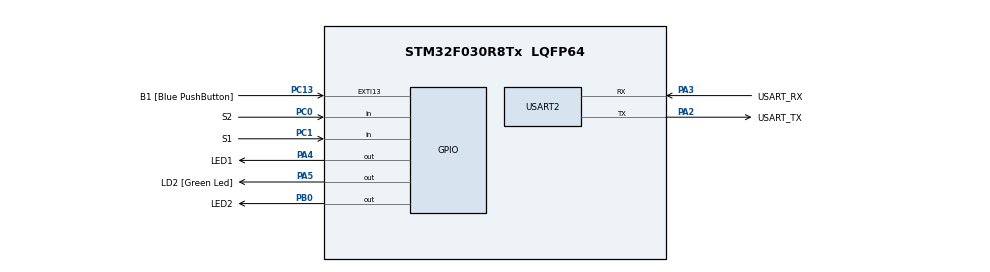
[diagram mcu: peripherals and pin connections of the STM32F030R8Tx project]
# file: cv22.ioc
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Mcu.Family=STM32F0
Mcu.Name=STM32F030R8Tx
Mcu.Package=LQFP64
PA13.GPIO_Label=TMS
PA13.Mode=Serial_Wire
PA13.Signal=SYS_SWDIO
PA14.GPIO_Label=TCK
PA14.Mode=Serial_Wire
PA14.Signal=SYS_SWCLK
PA2.GPIO_Label=USART_TX
PA2.GPIO_Mode=GPIO_MODE_AF_PP
PA2.GPIO_PuPd=GPIO_NOPULL
PA2.GPIO_Speed=GPIO_SPEED_FREQ_LOW
PA2.Mode=Asynchronous
PA2.Signal=USART2_TX
PA3.GPIO_Label=USART_RX
PA3.GPIO_Mode=GPIO_MODE_AF_PP
PA3.GPIO_PuPd=GPIO_NOPULL
PA3.GPIO_Speed=GPIO_SPEED_FREQ_LOW
PA3.Mode=Asynchronous
PA3.Signal=USART2_RX
PA4.GPIO_Label=LED1
PA4.Signal=GPIO_Output
PA5.GPIO_Label=LD2 [Green Led]
PA5.GPIO_Mode=GPIO_MODE_OUTPUT_PP
PA5.GPIO_PuPd=GPIO_NOPULL
PA5.GPIO_Speed=GPIO_SPEED_FREQ_LOW
PA5.Signal=GPIO_Output
PB0.GPIO_Label=LED2
PB0.Signal=GPIO_Output
PC0.GPIO_Label=S2
PC0.GPIO_PuPd=GPIO_PULLUP
PC0.Signal=GPIO_Input
PC1.GPIO_Label=S1
PC1.GPIO_PuPd=GPIO_PULLUP
PC1.Signal=GPIO_Input
PC13.GPIO_Label=B1 [Blue PushButton]
PC13.GPIO_ModeDefaultEXTI=GPIO_MODE_IT_FALLING
PC13.Signal=GPXTI13
PC14-OSC32_IN.Mode=LSE-External-Oscillator
PC14-OSC32_IN.Signal=RCC_OSC32_IN
PC15-OSC32_OUT.Mode=LSE-External-Oscillator
PC15-OSC32_OUT.Signal=RCC_OSC32_OUT
PF0-OSC_IN.Mode=HSE-External-Clock-Source
PF0-OSC_IN.Signal=RCC_OSC_IN
PF1-OSC_OUT.Signal=RCC_OSC_OUT
ProjectManager.HeapSize=0x200
ProjectManager.StackSize=0x400
ProjectManager.TargetToolchain=STM32CubeIDE
RCC.AHBFreq_Value=48000000
RCC.APB1Freq_Value=48000000
RCC.APB1TimFreq_Value=48000000
RCC.HCLKFreq_Value=48000000
RCC.PLLMUL=RCC_PLL_MUL12
RCC.SYSCLKFreq_VALUE=48000000
RCC.SYSCLKSource=RCC_SYSCLKSOURCE_PLLCLK
USART2.VirtualMode-Asynchronous=VM_ASYNC
board=NUCLEO-F030R8

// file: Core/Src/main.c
/* USER CODE BEGIN Header */
/**
  ******************************************************************************
  * @file           : main.c
  * @brief          : Main program body
  ******************************************************************************
  * @attention
  *
  * Copyright (c) 2023 STMicroelectronics.
  * All rights reserved.
  *
  * This software is licensed under terms that can be found in the LICENSE file
  * in the root directory of this software component.
  * If no LICENSE file comes with this software, it is provided AS-IS.
  *
  ******************************************************************************
  */
/* USER CODE END Header */
#include "main.h"

/* USER CODE BEGIN PD */
#define LED_TIME_BLINK 300
#define LED_TIME_SHORT 100
#define LED_TIME_LONG 1000
#define BUTTON_READ 40
#define BUTTON_READ_FAST 5
/* USER CODE END PD */

/* USER CODE BEGIN PV */

volatile uint32_t Tick;

/* USER CODE END PV */

void SystemClock_Config(void);
static void MX_GPIO_Init(void);
static void MX_USART2_UART_Init(void);
/* USER CODE BEGIN PFP */
void blikac(void);
void tlacitka(void);
/* USER CODE END PFP */

int main(void)
{

  /* MCU Configuration--------------------------------------------------------*/

  /* Reset of all peripherals, Initializes the Flash interface and the Systick. */
  LL_APB1_GRP2_EnableClock(LL_APB1_GRP2_PERIPH_SYSCFG);
  LL_APB1_GRP1_EnableClock(LL_APB1_GRP1_PERIPH_PWR);

  /* Configure the system clock */
  SystemClock_Config();

  /* Initialize all configured peripherals */
  MX_GPIO_Init();
  MX_USART2_UART_Init();
  /* USER CODE BEGIN 2 */
  LL_SYSTICK_EnableIT();
  /* USER CODE END 2 */

  /* Infinite loop */
  while (1)
  {
	  blikac();
	  tlacitka();
  }
}

void SystemClock_Config(void)
{
  LL_FLASH_SetLatency(LL_FLASH_LATENCY_1);
  while(LL_FLASH_GetLatency() != LL_FLASH_LATENCY_1)
  {
  }
  LL_RCC_HSI_Enable();

   /* Wait till HSI is ready */
  while(LL_RCC_HSI_IsReady() != 1)
  {

  }
  LL_RCC_HSI_SetCalibTrimming(16);
  LL_RCC_PLL_ConfigDomain_SYS(LL_RCC_PLLSOURCE_HSI_DIV_2, LL_RCC_PLL_MUL_12);
  LL_RCC_PLL_Enable();

   /* Wait till PLL is ready */
  while(LL_RCC_PLL_IsReady() != 1)
  {

  }
  LL_RCC_SetAHBPrescaler(LL_RCC_SYSCLK_DIV_1);
  LL_RCC_SetAPB1Prescaler(LL_RCC_APB1_DIV_1);
  LL_RCC_SetSysClkSource(LL_RCC_SYS_CLKSOURCE_PLL);

   /* Wait till System clock is ready */
  while(LL_RCC_GetSysClkSource() != LL_RCC_SYS_CLKSOURCE_STATUS_PLL)
  {

  }
  LL_Init1msTick(48000000);
  LL_SetSystemCoreClock(48000000);
}

static void MX_USART2_UART_Init(void)
{

  LL_USART_InitTypeDef USART_InitStruct = {0};

  LL_GPIO_InitTypeDef GPIO_InitStruct = {0};

  /* Peripheral clock enable */
  LL_APB1_GRP1_EnableClock(LL_APB1_GRP1_PERIPH_USART2);

  LL_AHB1_GRP1_EnableClock(LL_AHB1_GRP1_PERIPH_GPIOA);
  /**USART2 GPIO Configuration
  PA2   ------> USART2_TX
  PA3   ------> USART2_RX
  */
  GPIO_InitStruct.Pin = USART_TX_Pin;
  GPIO_InitStruct.Mode = LL_GPIO_MODE_ALTERNATE;
  GPIO_InitStruct.Speed = LL_GPIO_SPEED_FREQ_LOW;
  GPIO_InitStruct.OutputType = LL_GPIO_OUTPUT_PUSHPULL;
  GPIO_InitStruct.Pull = LL_GPIO_PULL_NO;
  GPIO_InitStruct.Alternate = LL_GPIO_AF_1;
  LL_GPIO_Init(USART_TX_GPIO_Port, &GPIO_InitStruct);

  GPIO_InitStruct.Pin = USART_RX_Pin;
  GPIO_InitStruct.Mode = LL_GPIO_MODE_ALTERNATE;
  GPIO_InitStruct.Speed = LL_GPIO_SPEED_FREQ_LOW;
  GPIO_InitStruct.OutputType = LL_GPIO_OUTPUT_PUSHPULL;
  GPIO_InitStruct.Pull = LL_GPIO_PULL_NO;
  GPIO_InitStruct.Alternate = LL_GPIO_AF_1;
  LL_GPIO_Init(USART_RX_GPIO_Port, &GPIO_InitStruct);

  USART_InitStruct.BaudRate = 38400;
  USART_InitStruct.DataWidth = LL_USART_DATAWIDTH_8B;
  USART_InitStruct.StopBits = LL_USART_STOPBITS_1;
  USART_InitStruct.Parity = LL_USART_PARITY_NONE;
  USART_InitStruct.TransferDirection = LL_USART_DIRECTION_TX_RX;
  USART_InitStruct.HardwareFlowControl = LL_USART_HWCONTROL_NONE;
  USART_InitStruct.OverSampling = LL_USART_OVERSAMPLING_16;
  LL_USART_Init(USART2, &USART_InitStruct);
  LL_USART_DisableIT_CTS(USART2);
  LL_USART_ConfigAsyncMode(USART2);
  LL_USART_Enable(USART2);

}

static void MX_GPIO_Init(void)
{
  LL_EXTI_InitTypeDef EXTI_InitStruct = {0};
  LL_GPIO_InitTypeDef GPIO_InitStruct = {0};

  /* GPIO Ports Clock Enable */
  LL_AHB1_GRP1_EnableClock(LL_AHB1_GRP1_PERIPH_GPIOC);
  LL_AHB1_GRP1_EnableClock(LL_AHB1_GRP1_PERIPH_GPIOF);
  LL_AHB1_GRP1_EnableClock(LL_AHB1_GRP1_PERIPH_GPIOA);
  LL_AHB1_GRP1_EnableClock(LL_AHB1_GRP1_PERIPH_GPIOB);

  /**/
  LL_GPIO_ResetOutputPin(LED1_GPIO_Port, LED1_Pin);

  /**/
  LL_GPIO_ResetOutputPin(LD2_GPIO_Port, LD2_Pin);

  /**/
  LL_GPIO_ResetOutputPin(LED2_GPIO_Port, LED2_Pin);

  /**/
  LL_SYSCFG_SetEXTISource(LL_SYSCFG_EXTI_PORTC, LL_SYSCFG_EXTI_LINE13);

  /**/
  LL_GPIO_SetPinPull(B1_GPIO_Port, B1_Pin, LL_GPIO_PULL_NO);

  /**/
  LL_GPIO_SetPinMode(B1_GPIO_Port, B1_Pin, LL_GPIO_MODE_INPUT);

  /**/
  EXTI_InitStruct.Line_0_31 = LL_EXTI_LINE_13;
  EXTI_InitStruct.LineCommand = ENABLE;
  EXTI_InitStruct.Mode = LL_EXTI_MODE_IT;
  EXTI_InitStruct.Trigger = LL_EXTI_TRIGGER_FALLING;
  LL_EXTI_Init(&EXTI_InitStruct);

  /**/
  GPIO_InitStruct.Pin = S2_Pin;
  GPIO_InitStruct.Mode = LL_GPIO_MODE_INPUT;
  GPIO_InitStruct.Pull = LL_GPIO_PULL_UP;
  LL_GPIO_Init(S2_GPIO_Port, &GPIO_InitStruct);

  /**/
  GPIO_InitStruct.Pin = S1_Pin;
  GPIO_InitStruct.Mode = LL_GPIO_MODE_INPUT;
  GPIO_InitStruct.Pull = LL_GPIO_PULL_UP;
  LL_GPIO_Init(S1_GPIO_Port, &GPIO_InitStruct);

  /**/
  GPIO_InitStruct.Pin = LED1_Pin;
  GPIO_InitStruct.Mode = LL_GPIO_MODE_OUTPUT;
  GPIO_InitStruct.Speed = LL_GPIO_SPEED_FREQ_LOW;
  GPIO_InitStruct.OutputType = LL_GPIO_OUTPUT_PUSHPULL;
  GPIO_InitStruct.Pull = LL_GPIO_PULL_NO;
  LL_GPIO_Init(LED1_GPIO_Port, &GPIO_InitStruct);

  /**/
  GPIO_InitStruct.Pin = LD2_Pin;
  GPIO_InitStruct.Mode = LL_GPIO_MODE_OUTPUT;
  GPIO_InitStruct.Speed = LL_GPIO_SPEED_FREQ_LOW;
  GPIO_InitStruct.OutputType = LL_GPIO_OUTPUT_PUSHPULL;
  GPIO_InitStruct.Pull = LL_GPIO_PULL_NO;
  LL_GPIO_Init(LD2_GPIO_Port, &GPIO_InitStruct);

  /**/
  GPIO_InitStruct.Pin = LED2_Pin;
  GPIO_InitStruct.Mode = LL_GPIO_MODE_OUTPUT;
  GPIO_InitStruct.Speed = LL_GPIO_SPEED_FREQ_LOW;
  GPIO_InitStruct.OutputType = LL_GPIO_OUTPUT_PUSHPULL;
  GPIO_InitStruct.Pull = LL_GPIO_PULL_NO;
  LL_GPIO_Init(LED2_GPIO_Port, &GPIO_InitStruct);

}

/* USER CODE BEGIN 4 */
void blikac(void)
{
	static uint32_t delay;

	if (Tick > delay + LED_TIME_BLINK) {
		LL_GPIO_TogglePin(LED1_GPIO_Port, LED1_Pin);
		delay = Tick;
	}
}
/*						tlacitka prvni reseni
void tlacitka(void)
{
	static uint32_t old_s2, off_time, old_s1, delay = 0;

	uint32_t new_s2 = LL_GPIO_IsInputPinSet(S2_GPIO_Port, S2_Pin);
	uint32_t new_s1 = LL_GPIO_IsInputPinSet(S1_GPIO_Port, S1_Pin);
	if (Tick > BUTTON_READ+delay){
		uint32_t new_s2 = LL_GPIO_IsInputPinSet(S2_GPIO_Port, S2_Pin);
		uint32_t new_s1 = LL_GPIO_IsInputPinSet(S1_GPIO_Port, S1_Pin);
		if (old_s2 && !new_s2) { // falling edge
			off_time = Tick + LED_TIME_SHORT;
			LL_GPIO_SetOutputPin(LED2_GPIO_Port, LED2_Pin);
		}
		old_s2 = new_s2;

		if (old_s1 && !new_s1) { // falling edge
			off_time = Tick + LED_TIME_LONG;
			LL_GPIO_SetOutputPin(LED2_GPIO_Port, LED2_Pin);
		}
		old_s1 = new_s1;
		if (Tick > off_time) {
			LL_GPIO_ResetOutputPin(LED2_GPIO_Port, LED2_Pin);
		}
		delay = Tick;
	}
}
*/
void tlacitka(void)
{
	static uint32_t off_time, delay = 0;
	static uint16_t debounce = 0xFFFF, debounce2 = 0xFFFF;
	if (Tick > BUTTON_READ_FAST+delay){
		debounce <<= 1;
		debounce2 <<= 1;
		if (LL_GPIO_IsInputPinSet(S1_GPIO_Port, S1_Pin) == 0){
			debounce |= 0x0001;
		}

		if (LL_GPIO_IsInputPinSet(S2_GPIO_Port, S2_Pin) == 0){
			debounce2 |= 0x0001;
		}
		if (debounce == 0x7FFF){
			off_time = Tick + LED_TIME_SHORT;
			LL_GPIO_SetOutputPin(LED2_GPIO_Port, LED2_Pin);
		}
		if (debounce2 == 0x7FFF){
			off_time = Tick + LED_TIME_LONG;
			LL_GPIO_SetOutputPin(LED2_GPIO_Port, LED2_Pin);
		}
		delay = Tick;
	}
	if (Tick > off_time){
		LL_GPIO_ResetOutputPin(LED2_GPIO_Port, LED2_Pin);
	}
}

/* USER CODE END 4 */

void Error_Handler(void)
{
  __disable_irq();
  while (1)
  {
  }
}
